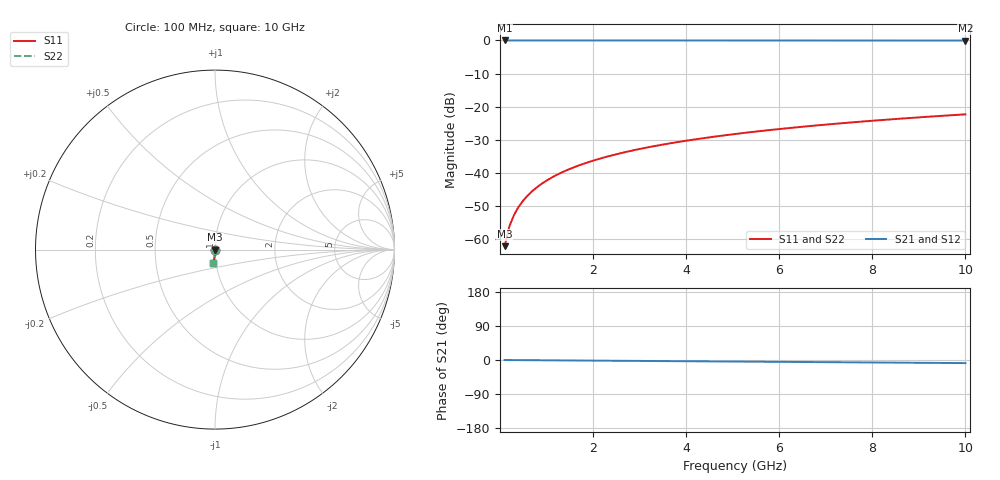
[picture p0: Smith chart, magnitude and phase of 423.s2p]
# Hz S RI R 50.00
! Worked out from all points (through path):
!   100 points, 100 MHz to 10 GHz, reference 50 ohm
!   highest |S21| = 0.00 dB at 100 MHz (marker M1); lowest = 0.0 dB at 10 GHz (marker M2)
!   group delay of S21, straight-line fit = 2.27 ps
!   lowest |S11| = -62.2 dB at 100 MHz (marker M3), VSWR 1.00, Z = 50 - j0.0762 ohm
!   |S11| at or under -10 dB: start of sweep to end of sweep
!   |S22| runs from -62.2 to -22.3 dB; largest |S21 - S12| = 0
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1e8  0.000161 -0.000762  0.9998 -0.00142  0.9998 -0.00142  0.000161 -0.000762
2e8  0.000158 -0.00152  0.9998 -0.00283  0.9998 -0.00283  0.000158 -0.00152
3e8  0.000152 -0.00228  0.9998 -0.00425  0.9998 -0.00425  0.000152 -0.00228
4e8  0.000144 -0.00305  0.9998 -0.00567  0.9998 -0.00567  0.000144 -0.00305
5e8  0.000134 -0.00381  0.9998 -0.00708  0.9998 -0.00708  0.000134 -0.00381
6e8  0.000122 -0.00457  0.9998 -0.0085  0.9998 -0.0085  0.000122 -0.00457
7e8  0.000107 -0.00533  0.9998 -0.00992  0.9998 -0.00992  0.000107 -0.00533
8e8  9.02e-05 -0.00609  0.9997 -0.0113  0.9997 -0.0113  9.02e-05 -0.00609
9e8  7.12e-05 -0.00686  0.9997 -0.0128  0.9997 -0.0128  7.12e-05 -0.00686
1.1e9  2.67e-05 -0.00838  0.9997 -0.0156  0.9997 -0.0156  2.67e-05 -0.00838
1.4e9  -5.65e-05 -0.0107  0.9996 -0.0198  0.9996 -0.0198  -5.65e-05 -0.0107
1.8e9  -0.000198 -0.0137  0.9994 -0.0255  0.9994 -0.0255  -0.000198 -0.0137
2.1e9  -0.000327 -0.016  0.9992 -0.0298  0.9992 -0.0298  -0.000327 -0.016
2.5e9  -0.000529 -0.019  0.999 -0.0354  0.999 -0.0354  -0.000529 -0.019
2.9e9  -0.000766 -0.0221  0.9987 -0.0411  0.9987 -0.0411  -0.000766 -0.0221
3.4e9  -0.00111 -0.0259  0.9983 -0.0482  0.9983 -0.0482  -0.00111 -0.0259
4.2e9  -0.00178 -0.032  0.9975 -0.0596  0.9975 -0.0596  -0.00178 -0.032
5.1e9  -0.00269 -0.0388  0.9964 -0.0723  0.9964 -0.0723  -0.00269 -0.0388
5.9e9  -0.00366 -0.0449  0.9952 -0.0837  0.9952 -0.0837  -0.00366 -0.0449
6.7e9  -0.00476 -0.051  0.9939 -0.095  0.9939 -0.095  -0.00476 -0.051
8.4e9  -0.00756 -0.0637  0.9905 -0.119  0.9905 -0.119  -0.00756 -0.0637
1e10  -0.0108 -0.0757  0.9867 -0.1416  0.9867 -0.1416  -0.0108 -0.0757
